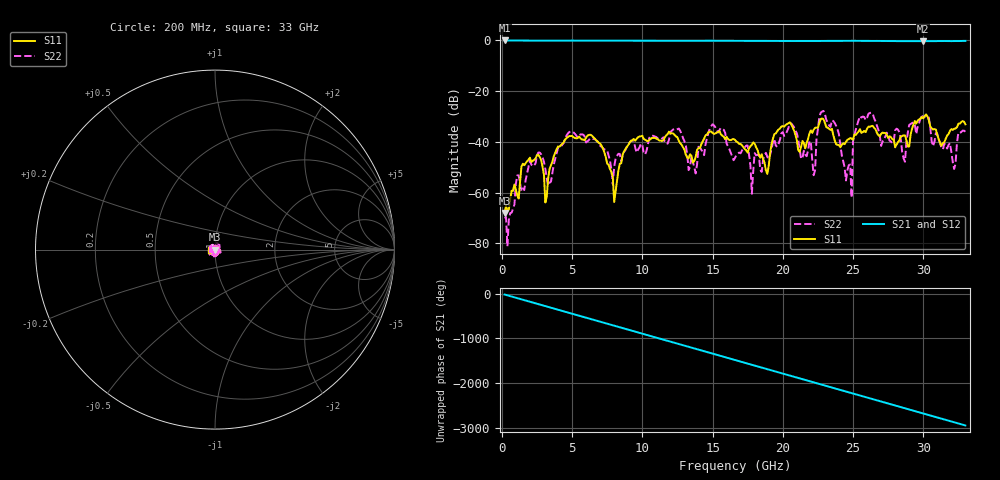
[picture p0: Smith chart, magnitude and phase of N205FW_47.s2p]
# GHZ S RI R 50
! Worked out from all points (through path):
!   329 points, 200 MHz to 33 GHz, reference 50 ohm
!   highest |S21| = -0.02 dB at 200 MHz (marker M1); lowest = -0.3 dB at 30 GHz (marker M2)
!   group delay of S21, straight-line fit = 248 ps
!   lowest |S11| = -68.0 dB at 200 MHz (marker M3), VSWR 1.00, Z = 50 + j0.000756 ohm
!   |S11| at or under -10 dB: start of sweep to end of sweep
!   |S22| runs from -81.1 to -27.8 dB; largest |S21 - S12| = 0.0022
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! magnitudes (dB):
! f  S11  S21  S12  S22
! 200 MHz  -68.0  0.0  0.0  -70.1
! 1.5 GHz  -48.6  -0.1  -0.1  -58.3
! 3.1 GHz  -63.9  -0.1  -0.1  -50.8
! 5.7 GHz  -39.0  -0.1  -0.1  -37.0
! 8 GHz  -63.7  -0.1  -0.1  -49.8
! 9.1 GHz  -40.3  -0.1  -0.1  -40.3
! 11.2 GHz  -39.4  -0.2  -0.2  -38.9
! 16.6 GHz  -39.2  -0.2  -0.2  -46.3
! 17.5 GHz  -44.3  -0.2  -0.2  -41.4
! 17.8 GHz  -41.2  -0.2  -0.2  -60.5
! 18 GHz  -40.7  -0.2  -0.2  -44.5
! 18.9 GHz  -52.6  -0.2  -0.2  -45.9
! 20.5 GHz  -32.3  -0.3  -0.3  -32.6
! 22.1 GHz  -36.5  -0.2  -0.2  -47.3
! 22.9 GHz  -31.0  -0.2  -0.2  -27.8
! 24.9 GHz  -38.7  -0.2  -0.2  -62.0
! 25 GHz  -39.2  -0.1  -0.1  -39.8
! 25.5 GHz  -35.0  -0.2  -0.2  -29.8
! 27.6 GHz  -37.8  -0.3  -0.3  -39.5
! 30 GHz  -30.7  -0.3  -0.3  -30.5
! 32.2 GHz  -34.8  -0.3  -0.2  -50.7
! 33 GHz  -33.1  -0.2  -0.2  -36.0
